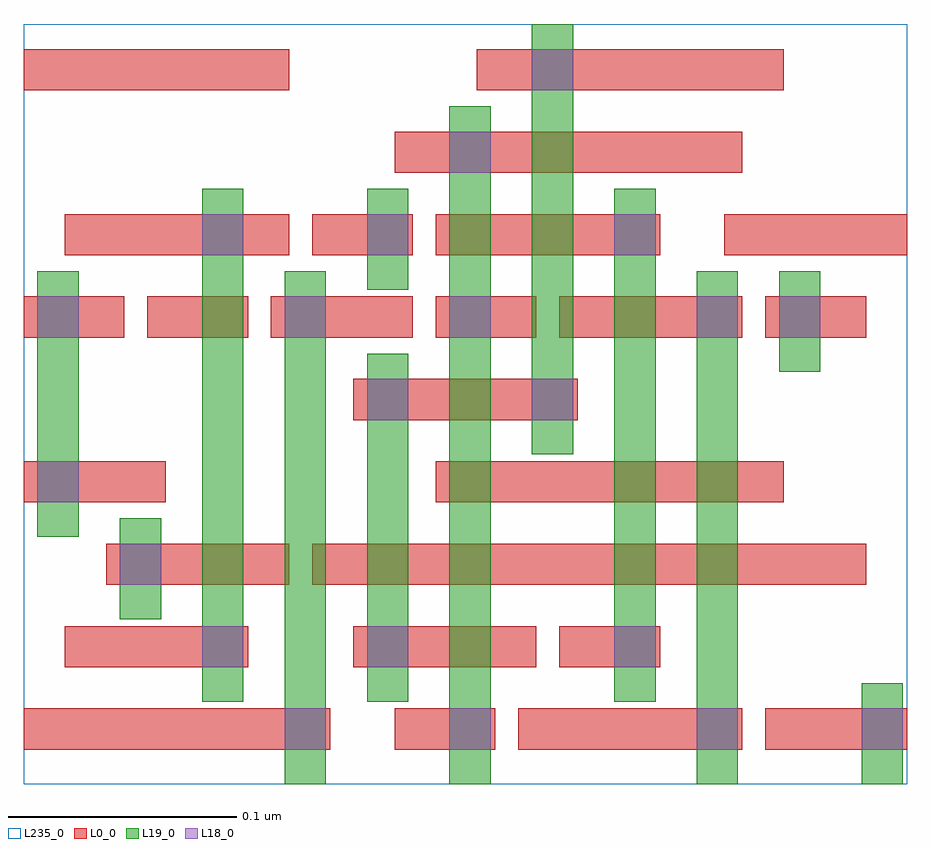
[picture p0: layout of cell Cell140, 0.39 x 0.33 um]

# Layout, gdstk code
import gdstk
lib = gdstk.Library(unit=1e-6, precision=2.5e-10)
def R(c, l, rs):  # rectangles x0, y0, x1, y1
    for r in rs: c.add(gdstk.rectangle(r[:2], r[2:], *l))
L0_0 = (0, 0)
L18_0 = (18, 0)
L19_0 = (19, 0)
L235_0 = (235, 0)

cell140 = lib.new_cell('Cell140')
R(cell140, L0_0, [(0.004,-0.001,0.138,0.017), (0.166,-0.001,0.21,0.017), (0.22,-0.001,0.318,0.017), (0.328,-0.001,0.39,0.017), (0.022,0.035,0.102,0.053), (0.148,0.035,0.228,0.053), (0.238,0.035,0.282,0.053), (0.04,0.071,0.12,0.089), (0.13,0.071,0.372,0.089), (0.004,0.107,0.066,0.125), (0.184,0.107,0.336,0.125), (0.148,0.143,0.246,0.161), (0.004,0.179,0.048,0.197), (0.058,0.179,0.102,0.197), (0.112,0.179,0.174,0.197), (0.184,0.179,0.228,0.197), (0.238,0.179,0.318,0.197), (0.328,0.179,0.372,0.197), (0.022,0.215,0.12,0.233), (0.13,0.215,0.174,0.233), (0.184,0.215,0.282,0.233), (0.31,0.215,0.39,0.233), (0.166,0.251,0.318,0.269), (0.004,0.287,0.12,0.305), (0.202,0.287,0.336,0.305)])
R(cell140, L18_0, [(0.118,-0.001,0.136,0.017), (0.19,-0.001,0.208,0.017), (0.298,-0.001,0.316,0.017), (0.37,-0.001,0.388,0.017), (0.082,0.035,0.1,0.053), (0.154,0.035,0.172,0.053), (0.262,0.035,0.28,0.053), (0.046,0.071,0.064,0.089), (0.01,0.107,0.028,0.125), (0.154,0.143,0.172,0.161), (0.226,0.143,0.244,0.161), (0.01,0.179,0.028,0.197), (0.118,0.179,0.136,0.197), (0.19,0.179,0.208,0.197), (0.298,0.179,0.316,0.197), (0.334,0.179,0.352,0.197), (0.082,0.215,0.1,0.233), (0.154,0.215,0.172,0.233), (0.262,0.215,0.28,0.233), (0.19,0.251,0.208,0.269), (0.226,0.287,0.244,0.305)])
R(cell140, L19_0, [(0.118,-0.016,0.136,0.208), (0.19,-0.016,0.208,0.28), (0.298,-0.016,0.316,0.208), (0.37,-0.016,0.388,0.028), (0.082,0.02,0.1,0.244), (0.154,0.02,0.172,0.172), (0.262,0.02,0.28,0.244), (0.046,0.056,0.064,0.1), (0.01,0.092,0.028,0.208), (0.226,0.128,0.244,0.316), (0.334,0.164,0.352,0.208), (0.154,0.2,0.172,0.244)])
R(cell140, L235_0, [(0.004,-0.016,0.39,0.316)])

lib.write_gds('Cell140.gds')
